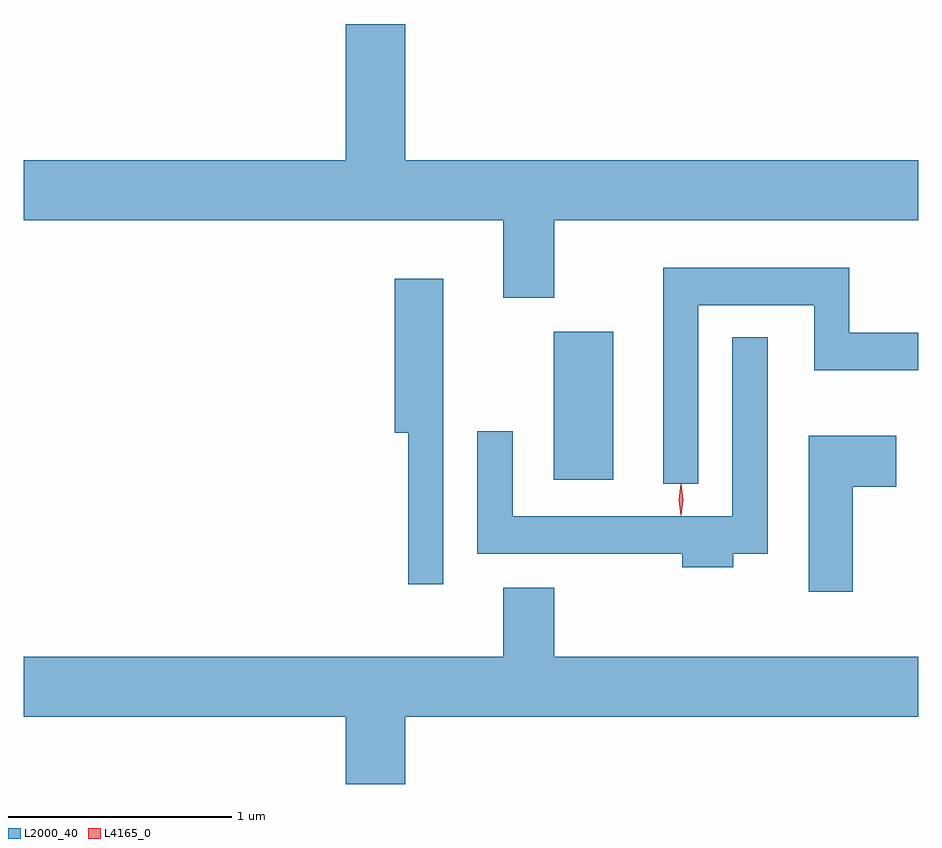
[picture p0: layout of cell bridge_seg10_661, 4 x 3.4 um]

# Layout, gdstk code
import gdstk
lib = gdstk.Library(unit=1e-6, precision=1e-09)
def R(c, l, rs):  # rectangles x0, y0, x1, y1
    for r in rs: c.add(gdstk.rectangle(r[:2], r[2:], *l))
def P(c, l, *ps):  # polygons
    for p in ps: c.add(gdstk.Polygon(p, *l))
L2000_40 = (2000, 40)
L4165_0 = (4165, 0)

bridge_seg10_661 = lib.new_cell('bridge_seg10_661')
R(bridge_seg10_661, L2000_40, [(995.226,2103.876,995.494,2104.539)])
P(bridge_seg10_661, L2000_40, [(995.229,2105.036),(996.857,2105.036),(996.857,2105.304),(994.564,2105.304),(994.564,2105.914),(994.296,2105.914),(994.296,2105.304),(992.857,2105.304),(992.857,2105.036),(995.001,2105.036),(995.001,2104.691),(995.229,2104.691)],
  [(995.874,2104.656),(996.391,2104.656),(996.391,2104.366),(996.857,2104.366),(996.857,2104.534),(996.549,2104.534),(996.549,2104.824),(995.716,2104.824),(995.716,2103.858),(995.874,2103.858)],
  [(994.734,2104.774),(994.516,2104.774),(994.516,2104.086),(994.576,2104.086),(994.576,2103.408),(994.734,2103.408)],
  [(996.029,2103.546),(996.184,2103.546),(996.184,2104.513),(996.026,2104.513),(996.026,2103.714),(995.044,2103.714),(995.044,2104.093),(994.886,2104.093),(994.886,2103.546),(995.801,2103.546),(995.801,2103.486),(996.029,2103.486)],
  [(996.564,2103.846),(996.759,2103.846),(996.759,2104.074),(996.366,2104.074),(996.366,2103.376),(996.564,2103.376)],
  [(994.564,2102.816),(996.857,2102.816),(996.857,2103.084),(995.229,2103.084),(995.229,2103.394),(995.001,2103.394),(995.001,2103.084),(992.857,2103.084),(992.857,2102.816),(994.296,2102.816),(994.296,2102.516),(994.564,2102.516)])
P(bridge_seg10_661, L4165_0, [(995.794,2103.717),(995.785,2103.786),(995.794,2103.856),(995.795,2103.856),(995.796,2103.856),(995.805,2103.786),(995.796,2103.717),(995.795,2103.717)],
  [(995.795,2103.719),(995.795,2103.72),(995.785,2103.786),(995.795,2103.852),(995.795,2103.853),(995.796,2103.852),(995.805,2103.786),(995.796,2103.72)])

lib.write_gds('bridge_seg10_661.gds')
